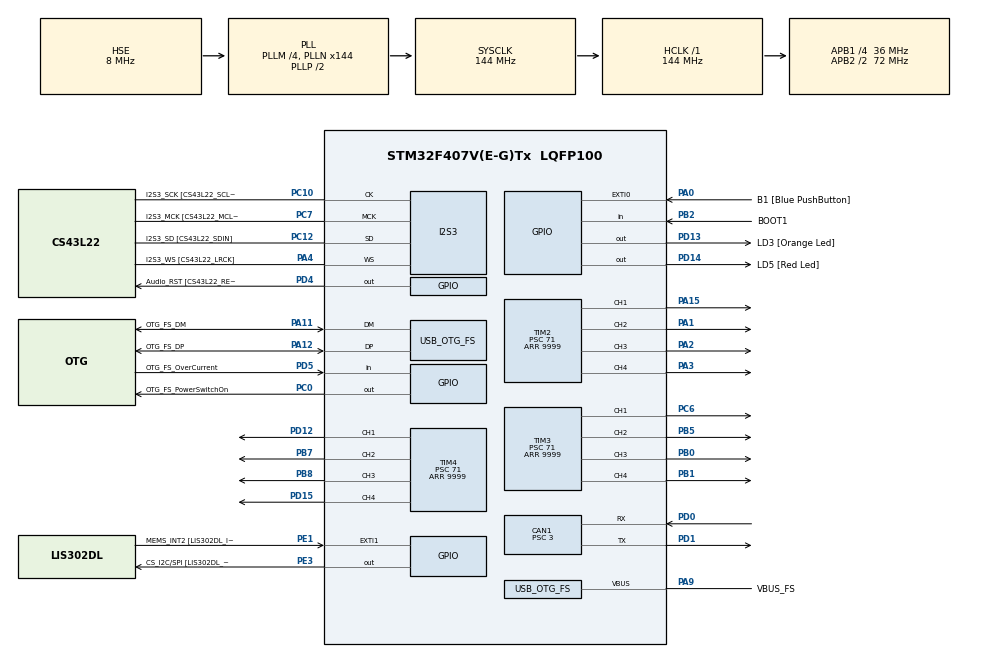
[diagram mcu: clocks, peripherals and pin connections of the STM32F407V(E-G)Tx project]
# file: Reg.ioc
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CAN1.BS1=CAN_BS1_11TQ
CAN1.BS2=CAN_BS2_4TQ
CAN1.CalculateBaudRate=749999
CAN1.CalculateTimeBit=1333
CAN1.CalculateTimeQuantum=83.33333333333334
CAN1.Prescaler=3
I2S3.AudioFreq-Half_Duplex_Master=I2S_AUDIOFREQ_96K
I2S3.ErrorAudioFreq=-2.34 %
I2S3.ErrorAudioFreq-Half_Duplex_Master=0.8 %
I2S3.FullDuplexMode=I2S_FULLDUPLEXMODE_DISABLE
I2S3.Instance=SPI$Index
I2S3.RealAudioFreq=93.75 KHz
I2S3.RealAudioFreq-Half_Duplex_Master=96.774 KHz
I2S3.VirtualMode=I2S_MODE_MASTER
Mcu.Family=STM32F4
Mcu.Name=STM32F407V(E-G)Tx
Mcu.Package=LQFP100
NVIC.CAN1_RX0_IRQn=true\:0\:0\:false\:false\:true\:true\:true\:true
NVIC.OTG_FS_IRQn=true\:0\:0\:false\:false\:true\:true\:true\:true
NVIC.PriorityGroup=NVIC_PRIORITYGROUP_0
PA0-WKUP.GPIO_Label=B1 [Blue PushButton]
PA0-WKUP.GPIO_ModeDefaultEXTI=GPIO_MODE_EVT_RISING
PA0-WKUP.GPIO_PuPd=GPIO_NOPULL
PA0-WKUP.Signal=GPXTI0
PA1.Signal=S_TIM2_CH2
PA10.GPIO_Label=OTG_FS_ID
PA10.GPIO_Mode=GPIO_MODE_AF_PP
PA10.GPIO_PuPd=GPIO_NOPULL
PA10.GPIO_Speed=GPIO_SPEED_FREQ_LOW
PA10.Signal=USB_OTG_FS_ID
PA11.GPIO_Label=OTG_FS_DM
PA11.GPIO_Mode=GPIO_MODE_AF_PP
PA11.GPIO_PuPd=GPIO_NOPULL
PA11.GPIO_Speed=GPIO_SPEED_FREQ_LOW
PA11.Mode=Host_Only
PA11.Signal=USB_OTG_FS_DM
PA12.GPIO_Label=OTG_FS_DP
PA12.GPIO_Mode=GPIO_MODE_AF_PP
PA12.GPIO_PuPd=GPIO_NOPULL
PA12.GPIO_Speed=GPIO_SPEED_FREQ_LOW
PA12.Mode=Host_Only
PA12.Signal=USB_OTG_FS_DP
PA13.GPIO_Label=SWDIO
PA13.Mode=Serial_Wire
PA13.Signal=SYS_JTMS-SWDIO
PA14.GPIO_Label=SWCLK
PA14.Mode=Serial_Wire
PA14.Signal=SYS_JTCK-SWCLK
PA15.Signal=S_TIM2_CH1_ETR
PA2.Signal=S_TIM2_CH3
PA3.Signal=S_TIM2_CH4
PA4.GPIO_Label=I2S3_WS [CS43L22_LRCK]
PA4.GPIO_Mode=GPIO_MODE_AF_PP
PA4.GPIO_PuPd=GPIO_NOPULL
PA4.GPIO_Speed=GPIO_SPEED_FREQ_LOW
PA4.Mode=Half_Duplex_Master
PA4.Signal=I2S3_WS
PA5.GPIO_Label=SPI1_SCK [LIS302DL_SCL/SPC]
PA5.GPIO_Mode=GPIO_MODE_AF_PP
PA5.GPIO_PuPd=GPIO_NOPULL
PA5.GPIO_Speed=GPIO_SPEED_FREQ_LOW
PA5.Signal=SPI1_SCK
PA6.GPIO_Label=SPI1_MISO [LIS302DL_SDO]
PA6.GPIO_Mode=GPIO_MODE_AF_PP
PA6.GPIO_PuPd=GPIO_NOPULL
PA6.GPIO_Speed=GPIO_SPEED_FREQ_LOW
PA6.Signal=SPI1_MISO
PA7.GPIO_Label=SPI1_MOSI [LIS302DL_SDA/SDI/SDO]
PA7.GPIO_Mode=GPIO_MODE_AF_PP
PA7.GPIO_PuPd=GPIO_NOPULL
PA7.GPIO_Speed=GPIO_SPEED_FREQ_LOW
PA7.Signal=SPI1_MOSI
PA9.GPIO_Label=VBUS_FS
PA9.GPIO_Mode=GPIO_MODE_INPUT
PA9.GPIO_PuPd=GPIO_NOPULL
PA9.Mode=Activate_VBUS
PA9.Signal=USB_OTG_FS_VBUS
PB0.Signal=S_TIM3_CH3
PB1.Signal=S_TIM3_CH4
PB10.GPIO_Label=CLK_IN [MP45DT02_CLK]
PB10.GPIO_Mode=GPIO_MODE_AF_PP
PB10.GPIO_PuPd=GPIO_NOPULL
PB10.GPIO_Speed=GPIO_SPEED_FREQ_LOW
PB10.Signal=I2S2_CK
PB2.GPIO_Label=BOOT1
PB2.GPIO_Mode=GPIO_MODE_INPUT
PB2.GPIO_PuPd=GPIO_NOPULL
PB2.Signal=GPIO_Input
PB3.GPIO_Label=SWO
PB3.Signal=SYS_JTDO-SWO
PB5.Signal=S_TIM3_CH2
PB6.GPIO_Label=Audio_SCL [CS43L22_SCL]
PB6.GPIO_Mode=GPIO_MODE_AF_OD
PB6.GPIO_Pu=GPIO_PULLUP
PB6.GPIO_PuPd=GPIO_NOPULL
PB6.GPIO_Speed=GPIO_SPEED_FREQ_LOW
PB6.Signal=I2C1_SCL
PB7.Signal=S_TIM4_CH2
PB8.Signal=S_TIM4_CH3
PB9.GPIO_Label=Audio_SDA [CS43L22_SDA]
PB9.GPIO_Mode=GPIO_MODE_AF_OD
PB9.GPIO_Pu=GPIO_PULLUP
PB9.GPIO_PuPd=GPIO_NOPULL
PB9.GPIO_Speed=GPIO_SPEED_FREQ_LOW
PB9.Signal=I2C1_SDA
PC0.GPIO_Label=OTG_FS_PowerSwitchOn
PC0.GPIO_PuPd=GPIO_NOPULL
PC0.GPIO_Speed=GPIO_SPEED_FREQ_LOW
PC0.PinState=GPIO_PIN_SET
PC0.Signal=GPIO_Output
PC10.GPIO_Label=I2S3_SCK [CS43L22_SCLK]
PC10.GPIO_Mode=GPIO_MODE_AF_PP
PC10.GPIO_PuPd=GPIO_NOPULL
PC10.GPIO_Speed=GPIO_SPEED_FREQ_LOW
PC10.Mode=Half_Duplex_Master
PC10.Signal=I2S3_CK
PC12.GPIO_Label=I2S3_SD [CS43L22_SDIN]
PC12.GPIO_Mode=GPIO_MODE_AF_PP
PC12.GPIO_PuPd=GPIO_NOPULL
PC12.GPIO_Speed=GPIO_SPEED_FREQ_LOW
PC12.Mode=Half_Duplex_Master
PC12.Signal=I2S3_SD
PC14-OSC32_IN.GPIO_Label=PC14-OSC32_IN
PC14-OSC32_IN.Mode=LSE-External-Oscillator
PC14-OSC32_IN.Signal=RCC_OSC32_IN
PC15-OSC32_OUT.GPIO_Label=PC15-OSC32_OUT
PC15-OSC32_OUT.Mode=LSE-External-Oscillator
PC15-OSC32_OUT.Signal=RCC_OSC32_OUT
PC3.GPIO_Label=PDM_OUT [MP45DT02_DOUT]
PC3.GPIO_Mode=GPIO_MODE_AF_PP
PC3.GPIO_PuPd=GPIO_NOPULL
PC3.GPIO_Speed=GPIO_SPEED_FREQ_LOW
PC3.Signal=I2S2_SD
PC6.Signal=S_TIM3_CH1
PC7.GPIO_Label=I2S3_MCK [CS43L22_MCLK]
PC7.GPIO_Mode=GPIO_MODE_AF_PP
PC7.GPIO_PuPd=GPIO_NOPULL
PC7.GPIO_Speed=GPIO_SPEED_FREQ_LOW
PC7.Mode=Master_Clock_Activated
PC7.Signal=I2S3_MCK
PD0.Mode=CAN_Activate
PD0.Signal=CAN1_RX
PD1.Mode=CAN_Activate
PD1.Signal=CAN1_TX
PD12.Signal=S_TIM4_CH1
PD13.GPIO_Label=LD3 [Orange Led]
PD13.GPIO_PuPd=GPIO_NOPULL
PD13.GPIO_Speed=GPIO_SPEED_FREQ_LOW
PD13.Signal=GPIO_Output
PD14.GPIO_Label=LD5 [Red Led]
PD14.GPIO_PuPd=GPIO_NOPULL
PD14.GPIO_Speed=GPIO_SPEED_FREQ_LOW
PD14.Signal=GPIO_Output
PD15.Signal=S_TIM4_CH4
PD4.GPIO_Label=Audio_RST [CS43L22_RESET]
PD4.GPIO_PuPd=GPIO_NOPULL
PD4.GPIO_Speed=GPIO_SPEED_FREQ_LOW
PD4.Signal=GPIO_Output
PD5.GPIO_Label=OTG_FS_OverCurrent
PD5.GPIO_Mode=GPIO_MODE_INPUT
PD5.GPIO_PuPd=GPIO_NOPULL
PD5.Signal=GPIO_Input
PE1.GPIO_Label=MEMS_INT2 [LIS302DL_INT2]
PE1.GPIO_ModeDefaultEXTI=GPIO_MODE_EVT_RISING
PE1.GPIO_PuPd=GPIO_NOPULL
PE1.Signal=GPXTI1
PE3.GPIO_Label=CS_I2C/SPI [LIS302DL_CS_I2C/SPI]
PE3.GPIO_PuPd=GPIO_NOPULL
PE3.GPIO_Speed=GPIO_SPEED_FREQ_LOW
PE3.Signal=GPIO_Output
PH0-OSC_IN.GPIO_Label=PH0-OSC_IN
PH0-OSC_IN.Mode=HSE-External-Oscillator
PH0-OSC_IN.Signal=RCC_OSC_IN
PH1-OSC_OUT.GPIO_Label=PH1-OSC_OUT
PH1-OSC_OUT.Mode=HSE-External-Oscillator
PH1-OSC_OUT.Signal=RCC_OSC_OUT
ProjectManager.HeapSize=0x200
ProjectManager.StackSize=0x400
ProjectManager.TargetToolchain=STM32CubeIDE
RCC.48MHZClocksFreq_Value=48000000
RCC.AHBFreq_Value=144000000
RCC.APB1CLKDivider=RCC_HCLK_DIV4
RCC.APB1Freq_Value=36000000
RCC.APB1TimFreq_Value=72000000
RCC.APB2CLKDivider=RCC_HCLK_DIV2
RCC.APB2Freq_Value=72000000
RCC.APB2TimFreq_Value=144000000
RCC.CortexFreq_Value=144000000
RCC.HCLKFreq_Value=144000000
RCC.HSE_VALUE=8000000
RCC.HSI_VALUE=16000000
RCC.PLLM=4
RCC.PLLN=144
RCC.PLLQ=6
RCC.SYSCLKFreq_VALUE=144000000
RCC.SYSCLKSource=RCC_SYSCLKSOURCE_PLLCLK
RCC.VCOOutputFreq_Value=288000000
SH.S_TIM2_CH1_ETR.0=TIM2_CH1,PWM Generation1 CH1
SH.S_TIM2_CH2.0=TIM2_CH2,PWM Generation2 CH2
SH.S_TIM2_CH3.0=TIM2_CH3,PWM Generation3 CH3
SH.S_TIM2_CH4.0=TIM2_CH4,PWM Generation4 CH4
SH.S_TIM3_CH1.0=TIM3_CH1,PWM Generation1 CH1
SH.S_TIM3_CH2.0=TIM3_CH2,PWM Generation2 CH2
SH.S_TIM3_CH3.0=TIM3_CH3,PWM Generation3 CH3
SH.S_TIM3_CH4.0=TIM3_CH4,PWM Generation4 CH4
SH.S_TIM4_CH1.0=TIM4_CH1,PWM Generation1 CH1
SH.S_TIM4_CH2.0=TIM4_CH2,PWM Generation2 CH2
SH.S_TIM4_CH3.0=TIM4_CH3,PWM Generation3 CH3
SH.S_TIM4_CH4.0=TIM4_CH4,Output Compare4 CH4
TIM2.AutoReloadPreload=TIM_AUTORELOAD_PRELOAD_ENABLE
TIM2.Channel-PWM\ Generation1\ CH1=TIM_CHANNEL_1
TIM2.Channel-PWM\ Generation2\ CH2=TIM_CHANNEL_2
TIM2.Channel-PWM\ Generation3\ CH3=TIM_CHANNEL_3
TIM2.Channel-PWM\ Generation4\ CH4=TIM_CHANNEL_4
TIM2.Period=9999
TIM2.Prescaler=71
TIM2.Pulse-PWM\ Generation1\ CH1=1499
TIM2.Pulse-PWM\ Generation2\ CH2=1499
TIM2.Pulse-PWM\ Generation3\ CH3=1499
TIM2.Pulse-PWM\ Generation4\ CH4=1499
TIM3.AutoReloadPreload=TIM_AUTORELOAD_PRELOAD_ENABLE
TIM3.Channel-PWM\ Generation1\ CH1=TIM_CHANNEL_1
TIM3.Channel-PWM\ Generation2\ CH2=TIM_CHANNEL_2
TIM3.Channel-PWM\ Generation3\ CH3=TIM_CHANNEL_3
TIM3.Channel-PWM\ Generation4\ CH4=TIM_CHANNEL_4
TIM3.Period=9999
TIM3.Prescaler=71
TIM3.Pulse-PWM\ Generation1\ CH1=1499
TIM3.Pulse-PWM\ Generation2\ CH2=1499
TIM3.Pulse-PWM\ Generation3\ CH3=1499
TIM3.Pulse-PWM\ Generation4\ CH4=1499
TIM4.AutoReloadPreload=TIM_AUTORELOAD_PRELOAD_ENABLE
TIM4.Channel-Output\ Compare4\ CH4=TIM_CHANNEL_4
TIM4.Channel-PWM\ Generation1\ CH1=TIM_CHANNEL_1
TIM4.Channel-PWM\ Generation2\ CH2=TIM_CHANNEL_2
TIM4.Channel-PWM\ Generation3\ CH3=TIM_CHANNEL_3
TIM4.Period=9999
TIM4.Prescaler=71
TIM4.Pulse-PWM\ Generation1\ CH1=1499
TIM4.Pulse-PWM\ Generation2\ CH2=1499
TIM4.Pulse-PWM\ Generation3\ CH3=1499
USB_HOST.BSP.number=1
USB_HOST.USBH_HandleTypeDef-CDC_FS=hUsbHostFS
USB_HOST.VirtualModeFS=Cdc
USB_HOST0.BSP.STBoard=false
USB_HOST0.BSP.api=Unknown
USB_HOST0.BSP.i2caddr=0
USB_HOST0.BSP.i2creg=0
USB_HOST0.BSP.instance=PC0
USB_HOST0.BSP.ip=GPIO
USB_HOST0.BSP.mode=Output
USB_HOST0.BSP.name=Drive_VBUS_FS
USB_HOST0.BSP.solution=PC0
USB_OTG_FS.VirtualMode=Host_Only
USB_OTG_FS.phy_itface=HCD_PHY_EMBEDDED
VP_TIM2_VS_ClockSourceINT.Mode=Internal
VP_TIM3_VS_ClockSourceINT.Mode=Internal
VP_TIM4_VS_ClockSourceINT.Mode=Internal
VP_USB_HOST_VS_USB_HOST_CDC_FS.Mode=CDC_FS
board=STM32F407G-DISC1

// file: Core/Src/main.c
/* USER CODE BEGIN Header */
/**
  ******************************************************************************
  * @file           : main.c
  * @brief          : Main program body
  ******************************************************************************
  * @attention
  *
  * <h2><center>&copy; Copyright (c) 2022 STMicroelectronics.
  * All rights reserved.</center></h2>
  *
  * This software component is licensed by ST under Ultimate Liberty license
  * SLA0044, the "License"; You may not use this file except in compliance with
  * the License. You may obtain a copy of the License at:
  *                             www.st.com/SLA0044
  *
  ******************************************************************************
  */
/* USER CODE END Header */
#include "main.h"
#include "usb_host.h"

/* USER CODE BEGIN Includes */
#include <math.h>
#include <stdio.h>
#include <string.h>
#include <structures.h>

#include <variabler_ext.h>
#include <variabler.h>

#include <funksjoner.h>
#include <pid.h>
#include <testfunksjoner.h>
#include <verdier.h>

/* USER CODE END Includes */

 CAN_HandleTypeDef hcan1;

I2S_HandleTypeDef hi2s3;

TIM_HandleTypeDef htim2;
TIM_HandleTypeDef htim3;
TIM_HandleTypeDef htim4;

/* USER CODE BEGIN PV */

//styrestruct styremelding;
//gyrostruct gyrodata;
//can_FLAGG can_rx;
//uint8_t hiv_flagg;

/* USER CODE END PV */

void SystemClock_Config(void);
static void MX_GPIO_Init(void);
static void MX_I2S3_Init(void);
static void MX_CAN1_Init(void);
static void MX_TIM2_Init(void);
static void MX_TIM3_Init(void);
static void MX_TIM4_Init(void);
void MX_USB_HOST_Process(void);

/* USER CODE BEGIN PFP */
void GPIO_setup(void);

/* USER CODE END PFP */

/* USER CODE BEGIN 0 */
//
// CAN-Buss oppsett Start
//
CAN_RxHeaderTypeDef rxHeader; //CAN Bus Transmit Header
CAN_TxHeaderTypeDef txHeader; //CAN Bus Receive Header
uint8_t canRX[8] = {0,0,0,0,0,0,0,0};  //CAN Bus Receive Buffer
uint8_t csend[8] = {0x01,0x02,0x03,0x04,0x05,0x06,0x07,0x08}; // Tx Buffer
CAN_FilterTypeDef canfilter;
uint32_t canMailbox; //CAN Bus Mail box variable

void oppstartCAN(uint8_t filterGruppe, CAN_HandleTypeDef *canPort) {
    canfilter.FilterBank = 0;
    canfilter.FilterMode = CAN_FILTERMODE_IDMASK;
    canfilter.FilterFIFOAssignment = CAN_RX_FIFO0;
    canfilter.FilterIdHigh = filterGruppe << 10 | 0x1F;
    canfilter.FilterIdLow = 0xFFF8;
    canfilter.FilterMaskIdHigh = 0x3F << 10 | 0x1F;
    canfilter.FilterMaskIdLow = 0xFFF8;
    canfilter.FilterScale = CAN_FILTERSCALE_32BIT;
    canfilter.FilterActivation = ENABLE;
    canfilter.SlaveStartFilterBank = 14;

    txHeader.DLC = 8; // Number of bites to be transmitted max- 8
    txHeader.IDE = CAN_ID_STD;
    txHeader.RTR = CAN_RTR_DATA;
    txHeader.StdId = 0x00;
    txHeader.ExtId = 0x00;
    txHeader.TransmitGlobalTime = DISABLE;

    HAL_CAN_ConfigFilter(canPort, &canfilter);
    HAL_CAN_Start(canPort);
    HAL_CAN_ActivateNotification(canPort, CAN_IT_RX_FIFO0_MSG_PENDING);
}

void sendDataCAN(uint16_t id, CAN_HandleTypeDef *canPort) {
    txHeader.StdId = id;
    HAL_CAN_AddTxMessage(canPort, &txHeader, csend, &canMailbox);
}
//
// CAN-Buss oppsett Stopp
//

/* USER CODE END 0 */

int main(void)
{

  /* MCU Configuration--------------------------------------------------------*/

  /* Reset of all peripherals, Initializes the Flash interface and the Systick. */
  HAL_Init();

  /* Configure the system clock */
  SystemClock_Config();

  /* Initialize all configured peripherals */
  MX_GPIO_Init();
  MX_I2S3_Init();
  MX_USB_HOST_Init();
  MX_CAN1_Init();
  MX_TIM2_Init();
  MX_TIM3_Init();
  MX_TIM4_Init();
  /* USER CODE BEGIN 2 */
  HAL_TIM_PWM_Start(&htim2, TIM_CHANNEL_1);
  HAL_TIM_PWM_Start(&htim2, TIM_CHANNEL_2);
  HAL_TIM_PWM_Start(&htim2, TIM_CHANNEL_3);
  HAL_TIM_PWM_Start(&htim2, TIM_CHANNEL_4);

  HAL_TIM_PWM_Start(&htim3, TIM_CHANNEL_1);
  HAL_TIM_PWM_Start(&htim3, TIM_CHANNEL_2);
  HAL_TIM_PWM_Start(&htim3, TIM_CHANNEL_3);
  HAL_TIM_PWM_Start(&htim3, TIM_CHANNEL_4);

  HAL_TIM_PWM_Start(&htim4, TIM_CHANNEL_1);
  HAL_TIM_PWM_Start(&htim4, TIM_CHANNEL_2);
  HAL_TIM_PWM_Start(&htim4, TIM_CHANNEL_3);

  oppstartCAN(2, &hcan1);
  GPIO_setup();
//  int16_t var1 = 0;
  oppstartsverdier();
  /* USER CODE END 2 */

  /* Infinite loop */
  /* USER CODE BEGIN WHILE */
  while (1)
  {
//	  HAL_Delay(1000);
//	  memcpy(csend, var1, 6);
//	  sendDataCAN(170, &hcan1);
//	  var1++;

	  if(flagg.can_70){					// Flagget signaliserer ny mottatt styremelding

//		  if(flagg.can_69){
//			  kombiner_styring();
//			  flagg.can_69 = 0;
//		  }
		  if (active_step.SEQ_STATUS){
			if (step_counter.seq_time > active_step.test_length){
			memcpy(&ctrl_ref, &active_step.old_ref, sizeof(NED_eta));
			active_step.SEQ_STATUS = 0;
			memset(&step_counter, 0, sizeof(step_timers));
			}
			else {
				step_machine(&active_step.heave, &ctrl_ref.z, active_step.old_ref.z);
				step_machine(&active_step.roll, &ctrl_ref.phi, active_step.old_ref.phi);
				step_machine(&active_step.pitch, &ctrl_ref.theta, active_step.old_ref.theta);
				step_counter.incr_timer = 0;
			}
		  }

		  oppdater_styrebidrag();		// Behandler pilotinstruksjoner for navigasjon
		  manipulator_styring();		// Behandler pilotinstruksjoner for manipulatoren

		  if (controller_status == 1){
			  // PID Controller
			  thrust_NED.z = pid(&pid_heave, model_states.z, ctrl_ref.z);
			  thrust_NED.phi = pid(&pid_roll, model_states.phi, ctrl_ref.phi);
			  thrust_NED.theta = pid(&pid_pitch, model_states.theta, ctrl_ref.theta);
			  // NED2BFF(&thrust_NED, &thrust_BFF, &model_states);
		  }
		  else if (controller_status == 2){
			  // Linear Quadratic Regulator
			  // lqr(&lqr_reg, &model_states, &ctrl_ref, &thrust_BFF);
			  lqr(&lqr_reg, &model_states, &ctrl_ref, &thrust_NED);
			  // NED2BFF(&thrust_NED, &thrust_BFF, &model_states);
		  }
		  else if (controller_status == 3){
			  // Sliding Mode Controller
			  thrust_NED.z = smc(&smc_heave, model_states.z, ctrl_ref.z);
			  thrust_NED.phi = smc(&smc_roll, model_states.phi, ctrl_ref.phi);
			  thrust_NED.theta = smc(&smc_pitch, model_states.theta, ctrl_ref.theta);
			  // NED2BFF(&thrust_NED, &thrust_BFF, &model_states);
		  }
		  else if (controller_status == 4){
			if(flagg.spid){  stamp_regulator(); }	// PID regulering av stampvinkelen
			if(flagg.rpid){  rull_regulator();  }	// PID regulering av rullvinkelen
			if(flagg.hpid){  hiv_regulator();   }	// PID regulering av hivposisjon
			// if(flagg.gpid){  gir_regulator();	  }	// PID regulering av girvinkel
		  }
		  if (controller_status){
			  NED2BFF(&thrust_NED, &thrust_BFF, &model_states);
			  BFF2ThrustPercent(&thrust_BFF, &ctrl_contribution);
		  }

		  if(test_thrustere){
			  styrebidrag.hhf = 40.0;
			  styrebidrag.hhb = 40.0;
			  styrebidrag.hvb = 40.0;
			  styrebidrag.hvf = 40.0;
		  }

		  behandle_paadrag();			// Pådragsprosessering

		  memcpy(&csend, &thrusterdata, 8);	// Sender pådragsdata til toppsiden
		  sendDataCAN(170, &hcan1);

		  csend[0] = flagg.spid;
		  csend[1] = flagg.rpid;
		  csend[2] = flagg.hpid;
		  csend[3] = flagg.gpid;
		  csend[4] = flagg.stamp_pause;
		  csend[5] = flagg.rull_pause;
		  csend[6] = flagg.hiv_pause;
		  csend[7] = flagg.gir_pause;
		  sendDataCAN(172, &hcan1);
		  HAL_Delay(1);

		  float nullpunkt[2] = {((float) controller_status), ((float) active_step.SEQ_STATUS)};
		  memcpy(&csend, &nullpunkt, sizeof(nullpunkt));
		  sendDataCAN(173, &hcan1);
		  HAL_Delay(1);

		  float nullpunkt2[2] = {10.0, ctrl_ref.z};
		  memcpy(&csend, &nullpunkt2, sizeof(nullpunkt));
		  sendDataCAN(173, &hcan1);
		  HAL_Delay(1);

		  float nullpunkt3[2] = {20.0, ctrl_ref.phi};
		  memcpy(&csend, &nullpunkt3, sizeof(nullpunkt));
		  sendDataCAN(173, &hcan1);
		  HAL_Delay(1);

		  float nullpunkt4[2] = {30.0, ctrl_ref.theta};
		  memcpy(&csend, &nullpunkt4, sizeof(nullpunkt));
		  sendDataCAN(173, &hcan1);

		  flagg.can_70 = 0;				// Styring og regulering fullført
	  }

	  if(esc_reset){
		  memcpy(&thruster_PWM, &oppstart_PWM, sizeof(thruster_sett));
		  skriv_thruster_PWM();
		  HAL_Delay(100);
		  csend[0] = 0b00111100;
		  sendDataCAN(139, &hcan1);
		  HAL_Delay(2000);
		  esc_reset = 0;

      gpid.yr = gir_m;								// Girreferansen oppdateres
      gpid.es = gpid.fbfs = gpid.uds = gpid.uis = 0; 	// nullstiller følgeverdier.
      spid.es = spid.fbfs = spid.uds = spid.uis = 0; 	// nullstiller følgeverdier.
      rpid.es = rpid.fbfs = rpid.uds = rpid.uis = 0; 	// nullstiller følgeverdier.
      hpid.yr = hiv_m;								// Dybdereferansen oppdateres
      hpid.es = hpid.fbfs = hpid.uds = hpid.uis = 0; 	// nullstiller følgeverdier.

      memset(&ctrl_ref, 0, sizeof(NED_eta));
      ctrl_ref.z = model_states.z;
      reset_pid_values(&pid_heave); reset_pid_values(&pid_roll); reset_pid_values(&pid_pitch);
      reset_lqr_values(&lqr_reg);
      reset_smc_values(&smc_heave); reset_smc_values(&smc_roll); reset_smc_values(&smc_pitch);
	  }

	  if(brytertrykk){
//		  oppdater_parameter( 3, 0.0);
//		  oppdater_parameter( 4, 0.0);
//		  oppdater_parameter( 5, 0.0);
//		  GPIOE->ODR = 0xFFFF;
//		  if(!test_dioder_toggle){
//			  test_dioder_toggle = 1;
//		  }
//		  else{
//			  test_dioder_toggle = 0;
//
//			  GPIOE->ODR = 0x00;
//		  }
//		  if(!flagg.regulering){
//			  flagg.regulering = 1;
//		  }
//		  else{
//			  flagg.regulering = 0;
//		  }
//		  test_led_dioder();
//		  test_mpwm_pinner();
//		  test_tpwm_pinner();
//		  test_styremeldinger();
		  brytertrykk = 0;
	  }

    /* USER CODE END WHILE */
    MX_USB_HOST_Process();

  }
}

void SystemClock_Config(void)
{
  RCC_OscInitTypeDef RCC_OscInitStruct = {0};
  RCC_ClkInitTypeDef RCC_ClkInitStruct = {0};

  /** Configure the main internal regulator output voltage
  */
  __HAL_RCC_PWR_CLK_ENABLE();
  __HAL_PWR_VOLTAGESCALING_CONFIG(PWR_REGULATOR_VOLTAGE_SCALE1);

  /** Initializes the RCC Oscillators according to the specified parameters
  * in the RCC_OscInitTypeDef structure.
  */
  RCC_OscInitStruct.OscillatorType = RCC_OSCILLATORTYPE_HSE;
  RCC_OscInitStruct.HSEState = RCC_HSE_ON;
  RCC_OscInitStruct.PLL.PLLState = RCC_PLL_ON;
  RCC_OscInitStruct.PLL.PLLSource = RCC_PLLSOURCE_HSE;
  RCC_OscInitStruct.PLL.PLLM = 4;
  RCC_OscInitStruct.PLL.PLLN = 144;
  RCC_OscInitStruct.PLL.PLLP = RCC_PLLP_DIV2;
  RCC_OscInitStruct.PLL.PLLQ = 6;
  if (HAL_RCC_OscConfig(&RCC_OscInitStruct) != HAL_OK)
  {
    Error_Handler();
  }

  /** Initializes the CPU, AHB and APB buses clocks
  */
  RCC_ClkInitStruct.ClockType = RCC_CLOCKTYPE_HCLK|RCC_CLOCKTYPE_SYSCLK
                              |RCC_CLOCKTYPE_PCLK1|RCC_CLOCKTYPE_PCLK2;
  RCC_ClkInitStruct.SYSCLKSource = RCC_SYSCLKSOURCE_PLLCLK;
  RCC_ClkInitStruct.AHBCLKDivider = RCC_SYSCLK_DIV1;
  RCC_ClkInitStruct.APB1CLKDivider = RCC_HCLK_DIV4;
  RCC_ClkInitStruct.APB2CLKDivider = RCC_HCLK_DIV2;

  if (HAL_RCC_ClockConfig(&RCC_ClkInitStruct, FLASH_LATENCY_4) != HAL_OK)
  {
    Error_Handler();
  }
}

static void MX_CAN1_Init(void)
{

  hcan1.Instance = CAN1;
  hcan1.Init.Prescaler = 3;
  hcan1.Init.Mode = CAN_MODE_NORMAL;
  hcan1.Init.SyncJumpWidth = CAN_SJW_1TQ;
  hcan1.Init.TimeSeg1 = CAN_BS1_11TQ;
  hcan1.Init.TimeSeg2 = CAN_BS2_4TQ;
  hcan1.Init.TimeTriggeredMode = DISABLE;
  hcan1.Init.AutoBusOff = DISABLE;
  hcan1.Init.AutoWakeUp = DISABLE;
  hcan1.Init.AutoRetransmission = DISABLE;
  hcan1.Init.ReceiveFifoLocked = DISABLE;
  hcan1.Init.TransmitFifoPriority = DISABLE;
  if (HAL_CAN_Init(&hcan1) != HAL_OK)
  {
    Error_Handler();
  }

}

static void MX_I2S3_Init(void)
{

  hi2s3.Instance = SPI3;
  hi2s3.Init.Mode = I2S_MODE_MASTER_TX;
  hi2s3.Init.Standard = I2S_STANDARD_PHILIPS;
  hi2s3.Init.DataFormat = I2S_DATAFORMAT_16B;
  hi2s3.Init.MCLKOutput = I2S_MCLKOUTPUT_ENABLE;
  hi2s3.Init.AudioFreq = I2S_AUDIOFREQ_96K;
  hi2s3.Init.CPOL = I2S_CPOL_LOW;
  hi2s3.Init.ClockSource = I2S_CLOCK_PLL;
  hi2s3.Init.FullDuplexMode = I2S_FULLDUPLEXMODE_DISABLE;
  if (HAL_I2S_Init(&hi2s3) != HAL_OK)
  {
    Error_Handler();
  }

}

static void MX_TIM2_Init(void)
{

  TIM_ClockConfigTypeDef sClockSourceConfig = {0};
  TIM_MasterConfigTypeDef sMasterConfig = {0};
  TIM_OC_InitTypeDef sConfigOC = {0};

  htim2.Instance = TIM2;
  htim2.Init.Prescaler = 71;
  htim2.Init.CounterMode = TIM_COUNTERMODE_UP;
  htim2.Init.Period = 9999;
  htim2.Init.ClockDivision = TIM_CLOCKDIVISION_DIV1;
  htim2.Init.AutoReloadPreload = TIM_AUTORELOAD_PRELOAD_ENABLE;
  if (HAL_TIM_Base_Init(&htim2) != HAL_OK)
  {
    Error_Handler();
  }
  sClockSourceConfig.ClockSource = TIM_CLOCKSOURCE_INTERNAL;
  if (HAL_TIM_ConfigClockSource(&htim2, &sClockSourceConfig) != HAL_OK)
  {
    Error_Handler();
  }
  if (HAL_TIM_PWM_Init(&htim2) != HAL_OK)
  {
    Error_Handler();
  }
  sMasterConfig.MasterOutputTrigger = TIM_TRGO_RESET;
  sMasterConfig.MasterSlaveMode = TIM_MASTERSLAVEMODE_DISABLE;
  if (HAL_TIMEx_MasterConfigSynchronization(&htim2, &sMasterConfig) != HAL_OK)
  {
    Error_Handler();
  }
  sConfigOC.OCMode = TIM_OCMODE_PWM1;
  sConfigOC.Pulse = 1499;
  sConfigOC.OCPolarity = TIM_OCPOLARITY_HIGH;
  sConfigOC.OCFastMode = TIM_OCFAST_DISABLE;
  if (HAL_TIM_PWM_ConfigChannel(&htim2, &sConfigOC, TIM_CHANNEL_1) != HAL_OK)
  {
    Error_Handler();
  }
  if (HAL_TIM_PWM_ConfigChannel(&htim2, &sConfigOC, TIM_CHANNEL_2) != HAL_OK)
  {
    Error_Handler();
  }
  if (HAL_TIM_PWM_ConfigChannel(&htim2, &sConfigOC, TIM_CHANNEL_3) != HAL_OK)
  {
    Error_Handler();
  }
  if (HAL_TIM_PWM_ConfigChannel(&htim2, &sConfigOC, TIM_CHANNEL_4) != HAL_OK)
  {
    Error_Handler();
  }
  HAL_TIM_MspPostInit(&htim2);

}

static void MX_TIM3_Init(void)
{

  TIM_ClockConfigTypeDef sClockSourceConfig = {0};
  TIM_MasterConfigTypeDef sMasterConfig = {0};
  TIM_OC_InitTypeDef sConfigOC = {0};

  htim3.Instance = TIM3;
  htim3.Init.Prescaler = 71;
  htim3.Init.CounterMode = TIM_COUNTERMODE_UP;
  htim3.Init.Period = 9999;
  htim3.Init.ClockDivision = TIM_CLOCKDIVISION_DIV1;
  htim3.Init.AutoReloadPreload = TIM_AUTORELOAD_PRELOAD_ENABLE;
  if (HAL_TIM_Base_Init(&htim3) != HAL_OK)
  {
    Error_Handler();
  }
  sClockSourceConfig.ClockSource = TIM_CLOCKSOURCE_INTERNAL;
  if (HAL_TIM_ConfigClockSource(&htim3, &sClockSourceConfig) != HAL_OK)
  {
    Error_Handler();
  }
  if (HAL_TIM_PWM_Init(&htim3) != HAL_OK)
  {
    Error_Handler();
  }
  sMasterConfig.MasterOutputTrigger = TIM_TRGO_RESET;
  sMasterConfig.MasterSlaveMode = TIM_MASTERSLAVEMODE_DISABLE;
  if (HAL_TIMEx_MasterConfigSynchronization(&htim3, &sMasterConfig) != HAL_OK)
  {
    Error_Handler();
  }
  sConfigOC.OCMode = TIM_OCMODE_PWM1;
  sConfigOC.Pulse = 1499;
  sConfigOC.OCPolarity = TIM_OCPOLARITY_HIGH;
  sConfigOC.OCFastMode = TIM_OCFAST_DISABLE;
  if (HAL_TIM_PWM_ConfigChannel(&htim3, &sConfigOC, TIM_CHANNEL_1) != HAL_OK)
  {
    Error_Handler();
  }
  if (HAL_TIM_PWM_ConfigChannel(&htim3, &sConfigOC, TIM_CHANNEL_2) != HAL_OK)
  {
    Error_Handler();
  }
  if (HAL_TIM_PWM_ConfigChannel(&htim3, &sConfigOC, TIM_CHANNEL_3) != HAL_OK)
  {
    Error_Handler();
  }
  if (HAL_TIM_PWM_ConfigChannel(&htim3, &sConfigOC, TIM_CHANNEL_4) != HAL_OK)
  {
    Error_Handler();
  }
  HAL_TIM_MspPostInit(&htim3);

}

static void MX_TIM4_Init(void)
{

  TIM_ClockConfigTypeDef sClockSourceConfig = {0};
  TIM_MasterConfigTypeDef sMasterConfig = {0};
  TIM_OC_InitTypeDef sConfigOC = {0};

  htim4.Instance = TIM4;
  htim4.Init.Prescaler = 71;
  htim4.Init.CounterMode = TIM_COUNTERMODE_UP;
  htim4.Init.Period = 9999;
  htim4.Init.ClockDivision = TIM_CLOCKDIVISION_DIV1;
  htim4.Init.AutoReloadPreload = TIM_AUTORELOAD_PRELOAD_ENABLE;
  if (HAL_TIM_Base_Init(&htim4) != HAL_OK)
  {
    Error_Handler();
  }
  sClockSourceConfig.ClockSource = TIM_CLOCKSOURCE_INTERNAL;
  if (HAL_TIM_ConfigClockSource(&htim4, &sClockSourceConfig) != HAL_OK)
  {
    Error_Handler();
  }
  if (HAL_TIM_PWM_Init(&htim4) != HAL_OK)
  {
    Error_Handler();
  }
  if (HAL_TIM_OC_Init(&htim4) != HAL_OK)
  {
    Error_Handler();
  }
  sMasterConfig.MasterOutputTrigger = TIM_TRGO_RESET;
  sMasterConfig.MasterSlaveMode = TIM_MASTERSLAVEMODE_DISABLE;
  if (HAL_TIMEx_MasterConfigSynchronization(&htim4, &sMasterConfig) != HAL_OK)
  {
    Error_Handler();
  }
  sConfigOC.OCMode = TIM_OCMODE_PWM1;
  sConfigOC.Pulse = 1499;
  sConfigOC.OCPolarity = TIM_OCPOLARITY_HIGH;
  sConfigOC.OCFastMode = TIM_OCFAST_DISABLE;
  if (HAL_TIM_PWM_ConfigChannel(&htim4, &sConfigOC, TIM_CHANNEL_1) != HAL_OK)
  {
    Error_Handler();
  }
  if (HAL_TIM_PWM_ConfigChannel(&htim4, &sConfigOC, TIM_CHANNEL_2) != HAL_OK)
  {
    Error_Handler();
  }
  if (HAL_TIM_PWM_ConfigChannel(&htim4, &sConfigOC, TIM_CHANNEL_3) != HAL_OK)
  {
    Error_Handler();
  }
  sConfigOC.OCMode = TIM_OCMODE_TIMING;
  sConfigOC.Pulse = 0;
  if (HAL_TIM_OC_ConfigChannel(&htim4, &sConfigOC, TIM_CHANNEL_4) != HAL_OK)
  {
    Error_Handler();
  }
  HAL_TIM_MspPostInit(&htim4);

}

static void MX_GPIO_Init(void)
{
  GPIO_InitTypeDef GPIO_InitStruct = {0};

  /* GPIO Ports Clock Enable */
  __HAL_RCC_GPIOE_CLK_ENABLE();
  __HAL_RCC_GPIOC_CLK_ENABLE();
  __HAL_RCC_GPIOH_CLK_ENABLE();
  __HAL_RCC_GPIOA_CLK_ENABLE();
  __HAL_RCC_GPIOB_CLK_ENABLE();
  __HAL_RCC_GPIOD_CLK_ENABLE();

  /*Configure GPIO pin Output Level */
  HAL_GPIO_WritePin(CS_I2C_SPI_GPIO_Port, CS_I2C_SPI_Pin, GPIO_PIN_RESET);

  /*Configure GPIO pin Output Level */
  HAL_GPIO_WritePin(OTG_FS_PowerSwitchOn_GPIO_Port, OTG_FS_PowerSwitchOn_Pin, GPIO_PIN_SET);

  /*Configure GPIO pin Output Level */
  HAL_GPIO_WritePin(GPIOD, LD3_Pin|LD5_Pin|Audio_RST_Pin, GPIO_PIN_RESET);

  /*Configure GPIO pin : CS_I2C_SPI_Pin */
  GPIO_InitStruct.Pin = CS_I2C_SPI_Pin;
  GPIO_InitStruct.Mode = GPIO_MODE_OUTPUT_PP;
  GPIO_InitStruct.Pull = GPIO_NOPULL;
  GPIO_InitStruct.Speed = GPIO_SPEED_FREQ_LOW;
  HAL_GPIO_Init(CS_I2C_SPI_GPIO_Port, &GPIO_InitStruct);

  /*Configure GPIO pin : OTG_FS_PowerSwitchOn_Pin */
  GPIO_InitStruct.Pin = OTG_FS_PowerSwitchOn_Pin;
  GPIO_InitStruct.Mode = GPIO_MODE_OUTPUT_PP;
  GPIO_InitStruct.Pull = GPIO_NOPULL;
  GPIO_InitStruct.Speed = GPIO_SPEED_FREQ_LOW;
  HAL_GPIO_Init(OTG_FS_PowerSwitchOn_GPIO_Port, &GPIO_InitStruct);

  /*Configure GPIO pin : PDM_OUT_Pin */
  GPIO_InitStruct.Pin = PDM_OUT_Pin;
  GPIO_InitStruct.Mode = GPIO_MODE_AF_PP;
  GPIO_InitStruct.Pull = GPIO_NOPULL;
  GPIO_InitStruct.Speed = GPIO_SPEED_FREQ_LOW;
  GPIO_InitStruct.Alternate = GPIO_AF5_SPI2;
  HAL_GPIO_Init(PDM_OUT_GPIO_Port, &GPIO_InitStruct);

  /*Configure GPIO pin : B1_Pin */
  GPIO_InitStruct.Pin = B1_Pin;
  GPIO_InitStruct.Mode = GPIO_MODE_EVT_RISING;
  GPIO_InitStruct.Pull = GPIO_NOPULL;
  HAL_GPIO_Init(B1_GPIO_Port, &GPIO_InitStruct);

  /*Configure GPIO pins : SPI1_SCK_Pin SPI1_MISO_Pin SPI1_MOSI_Pin */
  GPIO_InitStruct.Pin = SPI1_SCK_Pin|SPI1_MISO_Pin|SPI1_MOSI_Pin;
  GPIO_InitStruct.Mode = GPIO_MODE_AF_PP;
  GPIO_InitStruct.Pull = GPIO_NOPULL;
  GPIO_InitStruct.Speed = GPIO_SPEED_FREQ_LOW;
  GPIO_InitStruct.Alternate = GPIO_AF5_SPI1;
  HAL_GPIO_Init(GPIOA, &GPIO_InitStruct);

  /*Configure GPIO pin : BOOT1_Pin */
  GPIO_InitStruct.Pin = BOOT1_Pin;
  GPIO_InitStruct.Mode = GPIO_MODE_INPUT;
  GPIO_InitStruct.Pull = GPIO_NOPULL;
  HAL_GPIO_Init(BOOT1_GPIO_Port, &GPIO_InitStruct);

  /*Configure GPIO pin : CLK_IN_Pin */
  GPIO_InitStruct.Pin = CLK_IN_Pin;
  GPIO_InitStruct.Mode = GPIO_MODE_AF_PP;
  GPIO_InitStruct.Pull = GPIO_NOPULL;
  GPIO_InitStruct.Speed = GPIO_SPEED_FREQ_LOW;
  GPIO_InitStruct.Alternate = GPIO_AF5_SPI2;
  HAL_GPIO_Init(CLK_IN_GPIO_Port, &GPIO_InitStruct);

  /*Configure GPIO pins : LD3_Pin LD5_Pin Audio_RST_Pin */
  GPIO_InitStruct.Pin = LD3_Pin|LD5_Pin|Audio_RST_Pin;
  GPIO_InitStruct.Mode = GPIO_MODE_OUTPUT_PP;
  GPIO_InitStruct.Pull = GPIO_NOPULL;
  GPIO_InitStruct.Speed = GPIO_SPEED_FREQ_LOW;
  HAL_GPIO_Init(GPIOD, &GPIO_InitStruct);

  /*Configure GPIO pin : OTG_FS_OverCurrent_Pin */
  GPIO_InitStruct.Pin = OTG_FS_OverCurrent_Pin;
  GPIO_InitStruct.Mode = GPIO_MODE_INPUT;
  GPIO_InitStruct.Pull = GPIO_NOPULL;
  HAL_GPIO_Init(OTG_FS_OverCurrent_GPIO_Port, &GPIO_InitStruct);

  /*Configure GPIO pins : Audio_SCL_Pin Audio_SDA_Pin */
  GPIO_InitStruct.Pin = Audio_SCL_Pin|Audio_SDA_Pin;
  GPIO_InitStruct.Mode = GPIO_MODE_AF_OD;
  GPIO_InitStruct.Pull = GPIO_PULLUP;
  GPIO_InitStruct.Speed = GPIO_SPEED_FREQ_LOW;
  GPIO_InitStruct.Alternate = GPIO_AF4_I2C1;
  HAL_GPIO_Init(GPIOB, &GPIO_InitStruct);

  /*Configure GPIO pin : MEMS_INT2_Pin */
  GPIO_InitStruct.Pin = MEMS_INT2_Pin;
  GPIO_InitStruct.Mode = GPIO_MODE_EVT_RISING;
  GPIO_InitStruct.Pull = GPIO_NOPULL;
  HAL_GPIO_Init(MEMS_INT2_GPIO_Port, &GPIO_InitStruct);

}

/* USER CODE BEGIN 4 */
void GPIO_setup(void){
	GPIO_InitTypeDef GPIO_InitStruct = {0};

	/*Configure GPIO pins : LED custom config  */
	GPIO_InitStruct.Pin = LED_HHF | LED_HHB | LED_HVB | LED_HVF | LED_VHF | LED_VHB | LED_VVB | LED_VVF;
	GPIO_InitStruct.Mode = GPIO_MODE_OUTPUT_PP;
	GPIO_InitStruct.Pull = GPIO_NOPULL;
	GPIO_InitStruct.Speed = GPIO_SPEED_FREQ_LOW;
	HAL_GPIO_Init(GPIOE, &GPIO_InitStruct);

//	/*Configure GPIO pins :GPIOA */
//	GPIO_InitStruct.Pin = GPIO_PIN_1 | GPIO_PIN_2 | GPIO_PIN_3| GPIO_PIN_15;
//	GPIO_InitStruct.Mode = GPIO_MODE_OUTPUT_PP;
//	GPIO_InitStruct.Pull = GPIO_NOPULL;
//	GPIO_InitStruct.Speed = GPIO_SPEED_FREQ_HIGH;
//	HAL_GPIO_Init(GPIOA, &GPIO_InitStruct);
//
//	/*Configure GPIO pins : GPIOB */
//	GPIO_InitStruct.Pin = GPIO_PIN_0 | GPIO_PIN_1 | GPIO_PIN_5 | GPIO_PIN_7 | GPIO_PIN_8;
//	GPIO_InitStruct.Mode = GPIO_MODE_OUTPUT_PP;
//	GPIO_InitStruct.Pull = GPIO_NOPULL;
//	GPIO_InitStruct.Speed = GPIO_SPEED_FREQ_HIGH;
//	HAL_GPIO_Init(GPIOB, &GPIO_InitStruct);
//
//
//	/*Configure GPIO pins : GPIOC */
//	GPIO_InitStruct.Pin = GPIO_PIN_6;
//	GPIO_InitStruct.Mode = GPIO_MODE_OUTPUT_PP;
//	GPIO_InitStruct.Pull = GPIO_NOPULL;
//	GPIO_InitStruct.Speed = GPIO_SPEED_FREQ_HIGH;
//	HAL_GPIO_Init(GPIOC, &GPIO_InitStruct);
//
//
//	/*Configure GPIO pins : GPIOD */
//	GPIO_InitStruct.Pin = GPIO_PIN_12;
//	GPIO_InitStruct.Mode = GPIO_MODE_OUTPUT_PP;
//	GPIO_InitStruct.Pull = GPIO_NOPULL;
//	GPIO_InitStruct.Speed = GPIO_SPEED_FREQ_HIGH;
//	HAL_GPIO_Init(GPIOD, &GPIO_InitStruct);

}

// Interupt for CAN-Buss mottak av data
void HAL_CAN_RxFifo0MsgPendingCallback(CAN_HandleTypeDef *hcan11) {
    HAL_CAN_GetRxMessage(hcan11, CAN_RX_FIFO0, &rxHeader, canRX); //Receive CAN bus message to canRX buffer
    switch (rxHeader.StdId) {
    case 64:
        // Kjør kode
    	/*
    	int8_t styrekommandoer = {0,0,0,0,0,0,0,0};

    	styrekommandoer = (int8_t) canRX;
    	int8_t* Buffer = (int8_t*) &canRX[0];
    	for (i=0;i<8;i++){
    		styrekommandoer[i] = *Buffer;
    		Buffer++;
    	}
    	*/
        break;

    case 65:
        // Kjør kode
		/*
		int16_t* Buffer = (int16_t*) &canRX[0];
		for (i=0;i<4;i++){
			sensordata[i] = *Buffer;
			Buffer++;
		}
		*/
        break;

    case 69:
    	// Autonom kjørekommando
    	memcpy(&autonomstyring, &canRX, sizeof(styrestruct));
    	flagg.can_69 = 1;
        break;

    case 70:
        // Styrekommando
    	memcpy(&styremelding, &canRX, sizeof(styrestruct));
    	flagg.can_70 = 1;
    	teller_idle = 0;
        break;

    case 71:
    	// oppdater parameter
		memcpy(&ny_param, &canRX, sizeof(can_param));
		oppdater_parameter(ny_param.param_id, ny_param.parameter);
		break;

    case 80:
    	// Gyromålinger
    	memcpy(&gyrodata, &canRX, sizeof(gyrostruct));
    	sensordata.phi_old = sensordata.phi;
    	sensordata.theta_old = sensordata.theta;
    	sensordata.psi_old = sensordata.psi;
    	sensordata.z_old = sensordata.z;

    	sensordata.phi = -gyrodata.rull;
    	sensordata.theta = gyrodata.stamp;
    	sensordata.psi = gyrodata.gir;
    	sensordata.z = gyrodata.hiv;

    	model_states.z = (float) sensordata.z 											/100;
    	model_states.phi =(float) sensordata.phi 						*D2R 			/10;
    	model_states.theta = (float) sensordata.theta 					*D2R 			/10;
    	model_states.psi = (float) sensordata.psi 						*D2R 			/10;
    	model_states.w = (float) (sensordata.z-sensordata.z_old)				/TSTEP 	/100;
    	model_states.p = (float) (sensordata.phi-sensordata.phi_old)	*D2R	/TSTEP 	/10;
    	model_states.q = (float) (sensordata.theta-sensordata.theta_old)*D2R	/TSTEP 	/10;
    	model_states.r = (float) (sensordata.psi-sensordata.psi_old) 	*D2R	/TSTEP 	/10;

    	hiv_m =   (float) gyrodata.hiv / 100;
    	rull_m =  (float) gyrodata.rull / 10;
    	stamp_m = (float) gyrodata.stamp / 10;
    	gir_m =   (float) gyrodata.gir / 10;
    	gir_mf = gir_mf *0.95 + 0.05*gir_m;
//    	flagg.can_80 = 1;
        break;

    case 81:
    	// Akselerasjonsmålinger
    	memcpy(&aksdata, &canRX, sizeof(imustruct));
    	sensordata.u_dot = aksdata.x;
    	sensordata.v_dot = aksdata.y;
    	sensordata.w_dot = aksdata.z;

    	model_states.u = (float) model_states.u + sensordata.u_dot*TSTEP /100;
    	model_states.v = (float) model_states.v + sensordata.v_dot*TSTEP /100;
//    	model_states.w = (float) model_states.w + sensordata.w_dot*TSTEP /100;
    	model_states.x = (float) model_states.x + model_states.u*TSTEP;
    	model_states.y = (float) model_states.y + model_states.v*TSTEP;

//    	flagg.can_81 = 1;
        break;

    case 82:
    	// Magnometermålinger
    	memcpy(&magnodata, &canRX, sizeof(imustruct));
//    	gir_m = (float) magnodata.heading / 10;
//    	gir_mf = gir_mf *0.95 + 0.05*gir_m;
//    	flagg.can_82 = 1;
        break;

    case 85:
    	// testmelding sensor
    	memcpy(&csend, &canRX, 8);
    	sendDataCAN(97, &hcan1);
        break;

    case 90:
	// effektforbruk
    	memcpy(&effekt_forbruk, &canRX, sizeof(effekt_struct));
    	power12vf = 0.9*power12vf + 0.1*effekt_forbruk.thruster_12v;
    	break;

    case 95: // IKKE FJERN DENNE
        memcpy(csend, (uint8_t*) &"pong!\n", 6);
        sendDataCAN(189, &hcan1);

    }
}

/* USER CODE END 4 */

void Error_Handler(void)
{
  __disable_irq();
  while (1)
  {
  }
}
